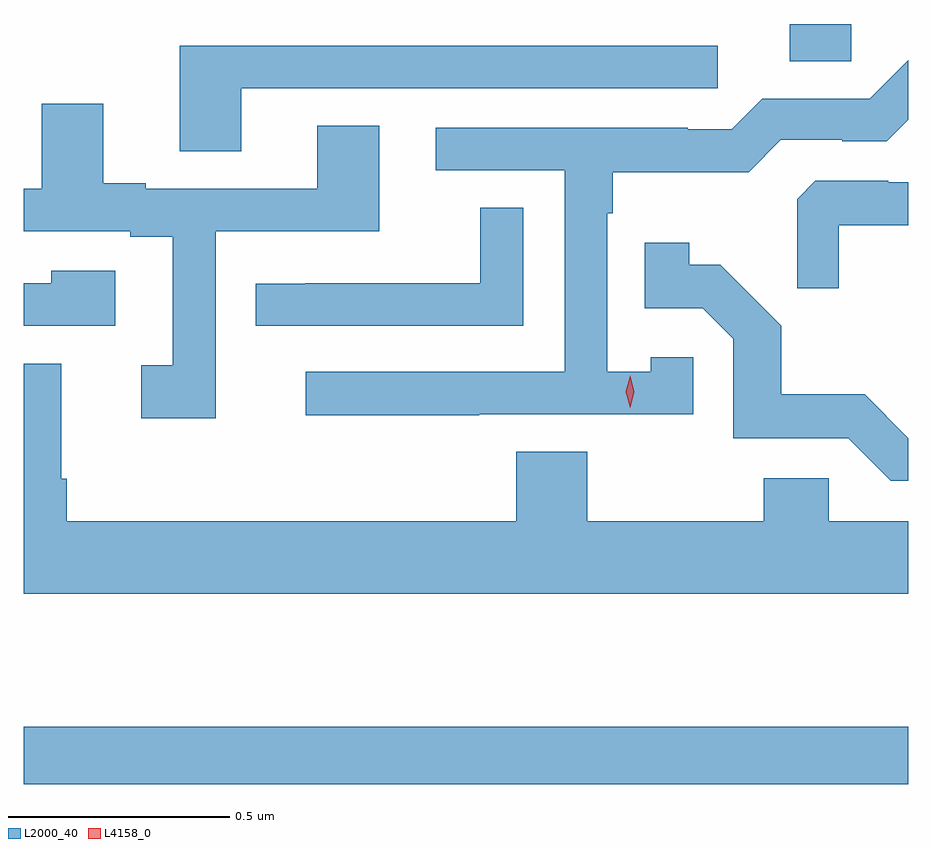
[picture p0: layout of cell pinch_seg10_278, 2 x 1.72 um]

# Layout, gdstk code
import gdstk
lib = gdstk.Library(unit=1e-6, precision=1e-09)
def R(c, l, rs):  # rectangles x0, y0, x1, y1
    for r in rs: c.add(gdstk.rectangle(r[:2], r[2:], *l))
def P(c, l, *ps):  # polygons
    for p in ps: c.add(gdstk.Polygon(p, *l))
L2000_40 = (2000, 40)
L4158_0 = (4158, 0)

pinch_seg10_278 = lib.new_cell('pinch_seg10_278')
R(pinch_seg10_278, L2000_40, [(525.991,1322.53,527.991,1322.659), (527.723,1324.165,527.862,1324.249)])
P(pinch_seg10_278, L2000_40, [(526.483,1324.104),(527.56,1324.104),(527.56,1324.2),(526.343,1324.2),(526.343,1323.961),(526.483,1323.961)],
  [(527.021,1323.366),(527.505,1323.366),(527.505,1323.495),(527.409,1323.495),(527.409,1323.463),(527.31,1323.463),(527.31,1323.821),(527.323,1323.821),(527.323,1323.914),(527.63,1323.914),(527.703,1323.987),(527.842,1323.987),(527.842,1323.984),(527.943,1323.984),(527.991,1324.032),(527.991,1324.167),(527.904,1324.08),(527.661,1324.08),(527.592,1324.011),(527.492,1324.011),(527.492,1324.014),(526.923,1324.014),(526.923,1323.918),(527.214,1323.918),(527.214,1323.462),(526.629,1323.462),(526.629,1323.364),(527.021,1323.364)],
  [(526.425,1323.78),(526.795,1323.78),(526.795,1324.019),(526.655,1324.019),(526.655,1323.876),(526.267,1323.876),(526.267,1323.889),(526.171,1323.889),(526.171,1324.069),(526.031,1324.069),(526.031,1323.876),(525.991,1323.876),(525.991,1323.78),(526.232,1323.78),(526.232,1323.768),(526.328,1323.768),(526.328,1323.477),(526.257,1323.477),(526.257,1323.357),(526.425,1323.357)],
  [(527.834,1323.794),(527.991,1323.794),(527.991,1323.891),(527.946,1323.891),(527.946,1323.894),(527.781,1323.894),(527.74,1323.853),(527.74,1323.651),(527.834,1323.651)],
  [(527.121,1323.833),(527.023,1323.833),(527.023,1323.663),(526.627,1323.663),(526.627,1323.662),(526.515,1323.662),(526.515,1323.567),(527.121,1323.567)],
  [(527.991,1323.312),(527.893,1323.411),(527.704,1323.411),(527.704,1323.566),(527.566,1323.704),(527.496,1323.704),(527.496,1323.754),(527.395,1323.754),(527.395,1323.606),(527.526,1323.606),(527.595,1323.537),(527.595,1323.312),(527.856,1323.312),(527.952,1323.216),(527.991,1323.216)],
  [(526.198,1323.691),(526.053,1323.691),(526.053,1323.663),(525.991,1323.663),(525.991,1323.567),(526.198,1323.567)],
  [(527.991,1323.124),(527.811,1323.124),(527.811,1323.222),(527.665,1323.222),(527.665,1323.124),(527.265,1323.124),(527.265,1323.281),(527.105,1323.281),(527.105,1323.124),(526.088,1323.124),(526.088,1323.22),(526.075,1323.22),(526.075,1323.481),(525.991,1323.481),(525.991,1322.96),(527.991,1322.96)])
P(pinch_seg10_278, L4158_0, [(527.362,1323.381),(527.362,1323.381),(527.352,1323.417),(527.362,1323.453),(527.362,1323.453),(527.362,1323.453),(527.372,1323.417),(527.362,1323.381)])

lib.write_gds('pinch_seg10_278.gds')
